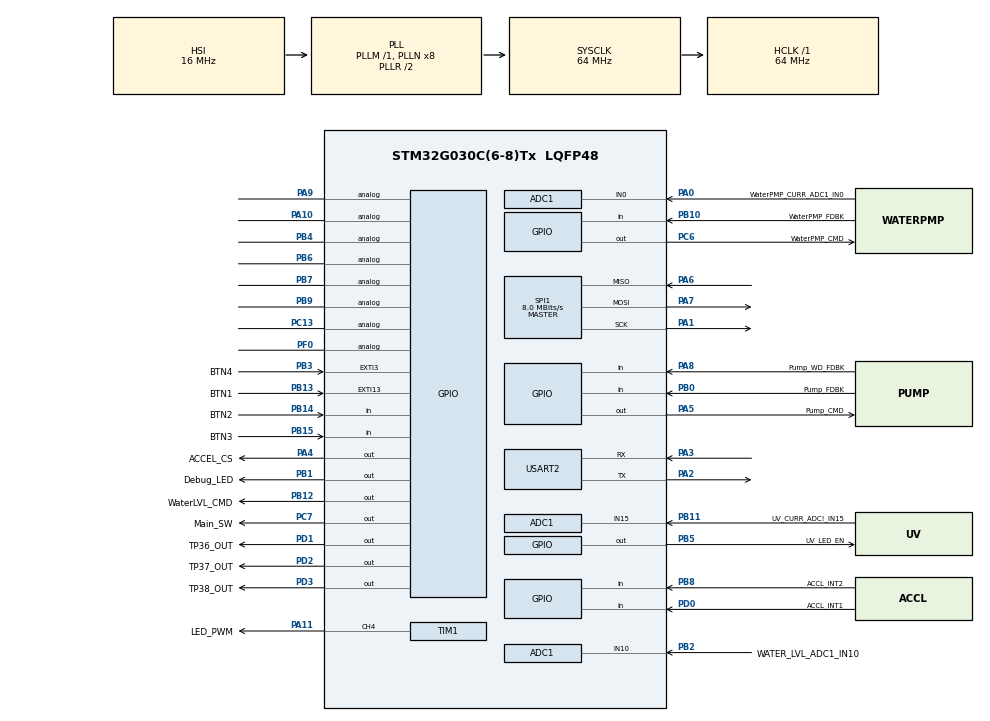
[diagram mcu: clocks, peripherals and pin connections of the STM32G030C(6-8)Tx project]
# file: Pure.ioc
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ADC1.ContinuousConvMode=ENABLE
ADC1.DMAContinuousRequests=ENABLE
ADC1.NbrOfConversion=1
ADC1.NbrOfConversionFlag=0
ADC1.OversamplingMode=ENABLE
ADC1.Ratio=ADC_OVERSAMPLING_RATIO_16
ADC1.RightBitShift=ADC_RIGHTBITSHIFT_4
ADC1.SamplingTimeCommon1=ADC_SAMPLETIME_79CYCLES_5
ADC1.SelectedChannel=ADC_CHANNEL_0|ADC_CHANNEL_10|ADC_CHANNEL_15|ADC_CHANNEL_VBAT
ADC1.Sequencer=NOT_FULLY_CONFIGURABLE
ADC1.master=1
CRC.InputDataFormat=CRC_INPUTDATA_FORMAT_WORDS
CRC.InputDataInversionMode=CRC_INPUTDATA_INVERSION_NONE
CRC.OutputDataInversionMode=CRC_OUTPUTDATA_INVERSION_DISABLE
Dma.ADC1.2.Direction=DMA_PERIPH_TO_MEMORY
Dma.ADC1.2.EventEnable=DISABLE
Dma.ADC1.2.Instance=DMA1_Channel5
Dma.ADC1.2.MemDataAlignment=DMA_MDATAALIGN_HALFWORD
Dma.ADC1.2.MemInc=DMA_MINC_ENABLE
Dma.ADC1.2.Mode=DMA_CIRCULAR
Dma.ADC1.2.PeriphDataAlignment=DMA_PDATAALIGN_HALFWORD
Dma.ADC1.2.PeriphInc=DMA_PINC_DISABLE
Dma.ADC1.2.Polarity=HAL_DMAMUX_REQ_GEN_RISING
Dma.ADC1.2.Priority=DMA_PRIORITY_LOW
Dma.ADC1.2.RequestNumber=1
Dma.ADC1.2.SignalID=NONE
Dma.ADC1.2.SyncEnable=DISABLE
Dma.ADC1.2.SyncPolarity=HAL_DMAMUX_SYNC_NO_EVENT
Dma.ADC1.2.SyncRequestNumber=1
Dma.ADC1.2.SyncSignalID=NONE
Dma.Request0=USART2_RX
Dma.Request1=USART2_TX
Dma.Request2=ADC1
Dma.Request3=TIM1_UP
Dma.TIM1_UP.3.Direction=DMA_MEMORY_TO_PERIPH
Dma.TIM1_UP.3.EventEnable=DISABLE
Dma.TIM1_UP.3.Instance=DMA1_Channel4
Dma.TIM1_UP.3.MemDataAlignment=DMA_MDATAALIGN_HALFWORD
Dma.TIM1_UP.3.MemInc=DMA_MINC_ENABLE
Dma.TIM1_UP.3.Mode=DMA_NORMAL
Dma.TIM1_UP.3.PeriphDataAlignment=DMA_PDATAALIGN_HALFWORD
Dma.TIM1_UP.3.PeriphInc=DMA_PINC_DISABLE
Dma.TIM1_UP.3.Polarity=HAL_DMAMUX_REQ_GEN_RISING
Dma.TIM1_UP.3.Priority=DMA_PRIORITY_HIGH
Dma.TIM1_UP.3.RequestNumber=1
Dma.TIM1_UP.3.SignalID=NONE
Dma.TIM1_UP.3.SyncEnable=DISABLE
Dma.TIM1_UP.3.SyncPolarity=HAL_DMAMUX_SYNC_NO_EVENT
Dma.TIM1_UP.3.SyncRequestNumber=1
Dma.TIM1_UP.3.SyncSignalID=NONE
Dma.USART2_RX.0.Direction=DMA_PERIPH_TO_MEMORY
Dma.USART2_RX.0.EventEnable=DISABLE
Dma.USART2_RX.0.Instance=DMA1_Channel3
Dma.USART2_RX.0.MemDataAlignment=DMA_MDATAALIGN_BYTE
Dma.USART2_RX.0.MemInc=DMA_MINC_ENABLE
Dma.USART2_RX.0.Mode=DMA_CIRCULAR
Dma.USART2_RX.0.PeriphDataAlignment=DMA_PDATAALIGN_BYTE
Dma.USART2_RX.0.PeriphInc=DMA_PINC_DISABLE
Dma.USART2_RX.0.Polarity=HAL_DMAMUX_REQ_GEN_RISING
Dma.USART2_RX.0.Priority=DMA_PRIORITY_LOW
Dma.USART2_RX.0.RequestNumber=1
Dma.USART2_RX.0.SignalID=NONE
Dma.USART2_RX.0.SyncEnable=DISABLE
Dma.USART2_RX.0.SyncPolarity=HAL_DMAMUX_SYNC_NO_EVENT
Dma.USART2_RX.0.SyncRequestNumber=1
Dma.USART2_RX.0.SyncSignalID=NONE
Dma.USART2_TX.1.Direction=DMA_MEMORY_TO_PERIPH
Dma.USART2_TX.1.EventEnable=DISABLE
Dma.USART2_TX.1.Instance=DMA1_Channel1
Dma.USART2_TX.1.MemDataAlignment=DMA_MDATAALIGN_BYTE
Dma.USART2_TX.1.MemInc=DMA_MINC_ENABLE
Dma.USART2_TX.1.Mode=DMA_NORMAL
Dma.USART2_TX.1.PeriphDataAlignment=DMA_PDATAALIGN_BYTE
Dma.USART2_TX.1.PeriphInc=DMA_PINC_DISABLE
Dma.USART2_TX.1.Polarity=HAL_DMAMUX_REQ_GEN_RISING
Dma.USART2_TX.1.Priority=DMA_PRIORITY_LOW
Dma.USART2_TX.1.RequestNumber=1
Dma.USART2_TX.1.SignalID=NONE
Dma.USART2_TX.1.SyncEnable=DISABLE
Dma.USART2_TX.1.SyncPolarity=HAL_DMAMUX_SYNC_NO_EVENT
Dma.USART2_TX.1.SyncRequestNumber=1
Dma.USART2_TX.1.SyncSignalID=NONE
IWDG.Prescaler=IWDG_PRESCALER_16
Mcu.Family=STM32G0
Mcu.Name=STM32G030C(6-8)Tx
Mcu.Package=LQFP48
NVIC.DMA1_Ch4_5_DMAMUX1_OVR_IRQn=true\:0\:0\:false\:false\:true\:false\:true\:true
NVIC.DMA1_Channel1_IRQn=true\:0\:0\:false\:false\:true\:false\:true\:true
NVIC.DMA1_Channel2_3_IRQn=true\:0\:0\:false\:false\:true\:false\:true\:true
NVIC.EXTI2_3_IRQn=true\:0\:0\:false\:false\:true\:true\:true\:true
NVIC.EXTI4_15_IRQn=true\:0\:0\:false\:false\:true\:true\:true\:true
NVIC.TIM14_IRQn=true\:0\:0\:false\:false\:true\:true\:true\:true
NVIC.TIM17_IRQn=true\:0\:0\:false\:false\:true\:true\:true\:true
NVIC.TIM1_BRK_UP_TRG_COM_IRQn=true\:2\:0\:true\:false\:true\:true\:true\:true
NVIC.USART2_IRQn=true\:0\:0\:false\:false\:true\:true\:true\:true
PA0.GPIO_Label=WaterPMP_CURR_ADC1_IN0
PA0.Mode=IN0
PA0.Signal=ADC1_IN0
PA1.Mode=Full_Duplex_Master
PA1.Signal=SPI1_SCK
PA10.Signal=GPIO_Analog
PA11\ [PA9].GPIO_Label=LED_PWM
PA11\ [PA9].GPIO_Speed=GPIO_SPEED_FREQ_VERY_HIGH
PA11\ [PA9].Signal=S_TIM1_CH4
PA2.Mode=Asynchronous
PA2.Signal=USART2_TX
PA3.Mode=Asynchronous
PA3.Signal=USART2_RX
PA4.GPIO_Label=ACCEL_CS
PA4.PinState=GPIO_PIN_SET
PA4.Signal=GPIO_Output
PA5.GPIO_Label=Pump_CMD
PA5.GPIO_PuPd=GPIO_PULLDOWN
PA5.Signal=GPIO_Output
PA6.Mode=Full_Duplex_Master
PA6.Signal=SPI1_MISO
PA7.Mode=Full_Duplex_Master
PA7.Signal=SPI1_MOSI
PA8.GPIO_Label=Pump_WD_FDBK
PA8.Signal=GPIO_Input
PA9.Signal=GPIO_Analog
PB0.GPIO_Label=Pump_FDBK
PB0.Signal=GPIO_Input
PB1.GPIO_Label=Debug_LED
PB1.Signal=GPIO_Output
PB10.GPIO_Label=WaterPMP_FDBK
PB10.Signal=GPIO_Input
PB11.GPIO_Label=UV_CURR_ADC\!_IN15
PB11.Mode=IN15
PB11.Signal=ADC1_IN15
PB12.GPIO_Label=WaterLVL_CMD
PB12.GPIO_PuPd=GPIO_PULLDOWN
PB12.Signal=GPIO_Output
PB13.GPIO_Label=BTN1
PB13.GPIO_ModeDefaultEXTI=GPIO_MODE_IT_RISING_FALLING
PB13.GPIO_PuPd=GPIO_PULLUP
PB13.Signal=GPXTI13
PB14.GPIO_Label=BTN2
PB14.GPIO_PuPd=GPIO_PULLUP
PB14.Signal=GPIO_Input
PB15.GPIO_Label=BTN3
PB15.GPIO_PuPd=GPIO_PULLUP
PB15.Signal=GPIO_Input
PB2.GPIO_Label=WATER_LVL_ADC1_IN10
PB2.Mode=IN10
PB2.Signal=ADC1_IN10
PB3.GPIO_Label=BTN4
PB3.GPIO_ModeDefaultEXTI=GPIO_MODE_IT_FALLING
PB3.GPIO_PuPd=GPIO_PULLUP
PB3.Signal=GPXTI3
PB4.Signal=GPIO_Analog
PB5.GPIO_Label=UV_LED_EN
PB5.Signal=GPIO_Output
PB6.Signal=GPIO_Analog
PB7.Signal=GPIO_Analog
PB8.GPIO_Label=ACCL_INT2
PB8.Signal=GPIO_Input
PB9.Signal=GPIO_Analog
PC13.Signal=GPIO_Analog
PC14-OSC32_IN\ (PC14).Mode=LSE-External-Oscillator
PC14-OSC32_IN\ (PC14).Signal=RCC_OSC32_IN
PC15-OSC32_OUT\ (PC15).Mode=LSE-External-Oscillator
PC15-OSC32_OUT\ (PC15).Signal=RCC_OSC32_OUT
PC6.GPIO_Label=WaterPMP_CMD
PC6.GPIO_PuPd=GPIO_PULLDOWN
PC6.Signal=GPIO_Output
PC7.GPIO_Label=Main_SW
PC7.GPIO_PuPd=GPIO_PULLDOWN
PC7.Signal=GPIO_Output
PD0.GPIO_Label=ACCL_INT1
PD0.Signal=GPIO_Input
PD1.GPIO_Label=TP36_OUT
PD1.Signal=GPIO_Output
PD2.GPIO_Label=TP37_OUT
PD2.Signal=GPIO_Output
PD3.GPIO_Label=TP38_OUT
PD3.Signal=GPIO_Output
PF0-OSC_IN\ (PF0).Signal=GPIO_Analog
ProjectManager.HeapSize=0x300
ProjectManager.StackSize=0x500
ProjectManager.TargetToolchain=STM32CubeIDE
RCC.ADCFreq_Value=64000000
RCC.AHBFreq_Value=64000000
RCC.CortexFreq_Value=64000000
RCC.EXTERNAL_CLOCK_VALUE=12288000
RCC.HCLKFreq_Value=64000000
RCC.HSE_VALUE=8000000
RCC.HSI_VALUE=16000000
RCC.RTCClockSelection=RCC_RTCCLKSOURCE_LSE
RCC.SYSCLKFreq_VALUE=64000000
RCC.SYSCLKSource=RCC_SYSCLKSOURCE_PLLCLK
RCC.VCOOutputFreq_Value=128000000
RTC.SynchPrediv=255
SH.S_TIM1_CH4.0=TIM1_CH4,PWM Generation4 CH4
SPI1.BaudRatePrescaler=SPI_BAUDRATEPRESCALER_8
SPI1.CalculateBaudRate=8.0 MBits/s
SPI1.DataSize=SPI_DATASIZE_8BIT
SPI1.Direction=SPI_DIRECTION_2LINES
SPI1.Mode=SPI_MODE_MASTER
SPI1.NSSPMode=SPI_NSS_PULSE_DISABLE
SPI1.VirtualType=VM_MASTER
TIM1.AutoReloadPreload=TIM_AUTORELOAD_PRELOAD_ENABLE
TIM1.Channel-PWM\ Generation4\ CH4=TIM_CHANNEL_4
TIM1.OC4Preload_PWM=DISABLE
TIM1.Period=79
TIM1.Prescaler=0
TIM14.AutoReloadPreload=TIM_AUTORELOAD_PRELOAD_DISABLE
TIM14.Period=99
TIM14.Prescaler=6399
TIM17.Period=0xffff
TIM17.Prescaler=1
USART2.VirtualMode-Asynchronous=VM_ASYNC
VP_ADC1_Vbat_Input.Mode=IN-Vbat
VP_CRC_VS_CRC.Mode=CRC_Activate
VP_IWDG_VS_IWDG.Mode=IWDG_Activate
VP_RTC_VS_RTC_Activate.Mode=RTC_Enabled
VP_RTC_VS_RTC_Calendar.Mode=RTC_Calendar
VP_TIM14_VS_ClockSourceINT.Mode=Enable_Timer
VP_TIM17_VS_ClockSourceINT.Mode=Enable_Timer
VP_TIM1_VS_ClockSourceINT.Mode=Internal
board=custom

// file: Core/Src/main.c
/* USER CODE BEGIN Header */
/**
  ******************************************************************************
  * @file           : main.c
  * @brief          : Main program body
  ******************************************************************************
  * @attention
  *
  * Copyright (c) 2025 STMicroelectronics.
  * All rights reserved.
  *
  * This software is licensed under terms that can be found in the LICENSE file
  * in the root directory of this software component.
  * If no LICENSE file comes with this software, it is provided AS-IS.
  *
  ******************************************************************************
  */
/* USER CODE END Header */
#include "main.h"

/* USER CODE BEGIN Includes */
//#include "LP5009.h"
#include "RtcBackupMemory.h"
#include "EventQueue.h"
/* USER CODE END Includes */

ADC_HandleTypeDef hadc1;
DMA_HandleTypeDef hdma_adc1;

CRC_HandleTypeDef hcrc;

IWDG_HandleTypeDef hiwdg;

RTC_HandleTypeDef hrtc;

SPI_HandleTypeDef hspi1;

TIM_HandleTypeDef htim1;
TIM_HandleTypeDef htim14;
TIM_HandleTypeDef htim17;
DMA_HandleTypeDef hdma_tim1_up;

UART_HandleTypeDef huart2;
DMA_HandleTypeDef hdma_usart2_rx;
DMA_HandleTypeDef hdma_usart2_tx;

/* USER CODE BEGIN PV */
/// Define global variables to store the latest averaged ADC values.
volatile uint16_t gReadWaterLevelADC;     // Stores the averaged value from ADC_CHANNEL_10 (PB2)
volatile uint16_t gReadWaterPumpCurrentADC;
volatile uint16_t gReadUVCurrentADC;
volatile uint16_t gReadVBATADC;
uint16_t gWaterLevelSensorThreahsold = 372; // 30/10/2025 changed from 500 to Itzik request
bool mWaterLevelAboveThroshold = false;
#define WATER_FULL_EVENT_DEBOUNCE_MSEC (50)
uint32_t mLastWaterFullSensorEventSent = 0;
// ADC buffer definition
// This buffer will store the raw, oversampled (summed) values from both channels, interleaved.
__IO   uint16_t   aADCxConvertedData[ADC_DMA_BUFFER_SIZE];
extern uint16_t gLedsCountTxCountDown;
extern bool gLedsWSBusyTxing;
/* USER CODE END PV */

void SystemClock_Config(void);
static void MX_GPIO_Init(void);
static void MX_DMA_Init(void);
static void MX_TIM1_Init(void);
static void MX_USART2_UART_Init(void);
static void MX_SPI1_Init(void);
static void MX_ADC1_Init(void);
static void MX_RTC_Init(void);
static void MX_TIM14_Init(void);
static void MX_CRC_Init(void);
static void MX_IWDG_Init(void);
static void MX_TIM17_Init(void);
/* USER CODE BEGIN PFP */
void CheckAndSentWaterFullSensorEvent();
/* USER CODE END PFP */

/* USER CODE BEGIN 0 */
//HAL_StatusTypeDef stat = 0;
//int err_count = 0;
//int ok_count = 0;
/* USER CODE END 0 */

int main(void)
{

  /* MCU Configuration--------------------------------------------------------*/

  /* Reset of all peripherals, Initializes the Flash interface and the Systick. */
  HAL_Init();

  /* Configure the system clock */
  SystemClock_Config();

  /* Initialize all configured peripherals */
  MX_GPIO_Init();
  MX_DMA_Init();
  MX_TIM1_Init();
  MX_USART2_UART_Init();
  MX_SPI1_Init();
  MX_ADC1_Init();
  MX_RTC_Init();
  MX_TIM14_Init();
  MX_CRC_Init();
  MX_IWDG_Init();
  MX_TIM17_Init();

  /* Infinite loop */
  /* USER CODE BEGIN WHILE */
  MainLogicInit();
  while (1)
  {
	HAL_Delay(100);
    /* USER CODE END WHILE */

  }
}

void SystemClock_Config(void)
{
  RCC_OscInitTypeDef RCC_OscInitStruct = {0};
  RCC_ClkInitTypeDef RCC_ClkInitStruct = {0};

  /** Configure the main internal regulator output voltage
  */
  HAL_PWREx_ControlVoltageScaling(PWR_REGULATOR_VOLTAGE_SCALE1);

  /** Configure LSE Drive Capability
  */
  HAL_PWR_EnableBkUpAccess();
  __HAL_RCC_LSEDRIVE_CONFIG(RCC_LSEDRIVE_LOW);

  /** Initializes the RCC Oscillators according to the specified parameters
  * in the RCC_OscInitTypeDef structure.
  */
  RCC_OscInitStruct.OscillatorType = RCC_OSCILLATORTYPE_HSI|RCC_OSCILLATORTYPE_LSI
                              |RCC_OSCILLATORTYPE_LSE;
  RCC_OscInitStruct.LSEState = RCC_LSE_ON;
  RCC_OscInitStruct.HSIState = RCC_HSI_ON;
  RCC_OscInitStruct.HSIDiv = RCC_HSI_DIV1;
  RCC_OscInitStruct.HSICalibrationValue = RCC_HSICALIBRATION_DEFAULT;
  RCC_OscInitStruct.LSIState = RCC_LSI_ON;
  RCC_OscInitStruct.PLL.PLLState = RCC_PLL_ON;
  RCC_OscInitStruct.PLL.PLLSource = RCC_PLLSOURCE_HSI;
  RCC_OscInitStruct.PLL.PLLM = RCC_PLLM_DIV1;
  RCC_OscInitStruct.PLL.PLLN = 8;
  RCC_OscInitStruct.PLL.PLLP = RCC_PLLP_DIV2;
  RCC_OscInitStruct.PLL.PLLR = RCC_PLLR_DIV2;
  if (HAL_RCC_OscConfig(&RCC_OscInitStruct) != HAL_OK)
  {
    Error_Handler();
  }

  /** Initializes the CPU, AHB and APB buses clocks
  */
  RCC_ClkInitStruct.ClockType = RCC_CLOCKTYPE_HCLK|RCC_CLOCKTYPE_SYSCLK
                              |RCC_CLOCKTYPE_PCLK1;
  RCC_ClkInitStruct.SYSCLKSource = RCC_SYSCLKSOURCE_PLLCLK;
  RCC_ClkInitStruct.AHBCLKDivider = RCC_SYSCLK_DIV1;
  RCC_ClkInitStruct.APB1CLKDivider = RCC_HCLK_DIV1;

  if (HAL_RCC_ClockConfig(&RCC_ClkInitStruct, FLASH_LATENCY_2) != HAL_OK)
  {
    Error_Handler();
  }
}

static void MX_ADC1_Init(void)
{

  ADC_ChannelConfTypeDef sConfig = {0};

  /** Configure the global features of the ADC (Clock, Resolution, Data Alignment and number of conversion)
  */
  hadc1.Instance = ADC1;
  hadc1.Init.ClockPrescaler = ADC_CLOCK_SYNC_PCLK_DIV2;
  hadc1.Init.Resolution = ADC_RESOLUTION_12B;
  hadc1.Init.DataAlign = ADC_DATAALIGN_RIGHT;
  hadc1.Init.ScanConvMode = ADC_SCAN_SEQ_FIXED;
  hadc1.Init.EOCSelection = ADC_EOC_SINGLE_CONV;
  hadc1.Init.LowPowerAutoWait = DISABLE;
  hadc1.Init.LowPowerAutoPowerOff = DISABLE;
  hadc1.Init.ContinuousConvMode = ENABLE;
  hadc1.Init.NbrOfConversion = 1;
  hadc1.Init.ExternalTrigConv = ADC_SOFTWARE_START;
  hadc1.Init.ExternalTrigConvEdge = ADC_EXTERNALTRIGCONVEDGE_NONE;
  hadc1.Init.DMAContinuousRequests = ENABLE;
  hadc1.Init.Overrun = ADC_OVR_DATA_PRESERVED;
  hadc1.Init.SamplingTimeCommon1 = ADC_SAMPLETIME_79CYCLES_5;
  hadc1.Init.OversamplingMode = ENABLE;
  hadc1.Init.Oversampling.Ratio = ADC_OVERSAMPLING_RATIO_16;
  hadc1.Init.Oversampling.RightBitShift = ADC_RIGHTBITSHIFT_4;
  hadc1.Init.Oversampling.TriggeredMode = ADC_TRIGGEREDMODE_SINGLE_TRIGGER;
  hadc1.Init.TriggerFrequencyMode = ADC_TRIGGER_FREQ_HIGH;
  if (HAL_ADC_Init(&hadc1) != HAL_OK)
  {
    Error_Handler();
  }

  /** Configure Regular Channel
  */
  sConfig.Channel = ADC_CHANNEL_0;
  sConfig.Rank = ADC_RANK_CHANNEL_NUMBER;
  if (HAL_ADC_ConfigChannel(&hadc1, &sConfig) != HAL_OK)
  {
    Error_Handler();
  }

  /** Configure Regular Channel
  */
  sConfig.Channel = ADC_CHANNEL_10;
  if (HAL_ADC_ConfigChannel(&hadc1, &sConfig) != HAL_OK)
  {
    Error_Handler();
  }

  /** Configure Regular Channel
  */
  sConfig.Channel = ADC_CHANNEL_15;
  if (HAL_ADC_ConfigChannel(&hadc1, &sConfig) != HAL_OK)
  {
    Error_Handler();
  }

  /** Configure Regular Channel
  */
  sConfig.Channel = ADC_CHANNEL_VBAT;
  if (HAL_ADC_ConfigChannel(&hadc1, &sConfig) != HAL_OK)
  {
    Error_Handler();
  }
  /* USER CODE BEGIN ADC1_Init 2 */

      // ** Direct Register Write: Enable the internal VREFINT and VBAT paths **
      // This explicitly sets the VREFEN and VBATEN bits in the ADC Common CCR.
      // This is the direct equivalent of the missing __HAL_ADC_COMMON_CONFIG macro.
      ADC->CCR |= ADC_CCR_VBATEN;

  /* USER CODE END ADC1_Init 2 */

}

static void MX_CRC_Init(void)
{

  hcrc.Instance = CRC;
  hcrc.Init.DefaultPolynomialUse = DEFAULT_POLYNOMIAL_ENABLE;
  hcrc.Init.DefaultInitValueUse = DEFAULT_INIT_VALUE_ENABLE;
  hcrc.Init.InputDataInversionMode = CRC_INPUTDATA_INVERSION_NONE;
  hcrc.Init.OutputDataInversionMode = CRC_OUTPUTDATA_INVERSION_DISABLE;
  hcrc.InputDataFormat = CRC_INPUTDATA_FORMAT_WORDS;
  if (HAL_CRC_Init(&hcrc) != HAL_OK)
  {
    Error_Handler();
  }

}

static void MX_IWDG_Init(void)
{

  /* USER CODE BEGIN IWDG_Init 0 */

    // Uncomment these when debug
    //#warning  Debug Mode, MX_IWDG_Init is skipped!
    //return;

#ifdef DEBUG_NO_SAFETY
#warning  DEBUG_NO_SAFETY is defined, MX_IWDG_Init is skipped!
    return;
#endif

  /* USER CODE END IWDG_Init 0 */

  hiwdg.Instance = IWDG;
  hiwdg.Init.Prescaler = IWDG_PRESCALER_16;
  hiwdg.Init.Window = 4095;
  hiwdg.Init.Reload = 4095;
  if (HAL_IWDG_Init(&hiwdg) != HAL_OK)
  {
    Error_Handler();
  }

}

static void MX_RTC_Init(void)
{

  RTC_TimeTypeDef sTime = {0};
  RTC_DateTypeDef sDate = {0};

  /* USER CODE BEGIN RTC_Init 1 */

  // Needed for backup access
  __HAL_RCC_PWR_CLK_ENABLE();
  // Needed for writing BDCR/BKP
  HAL_PWR_EnableBkUpAccess();
  // Enables peripheral access
  __HAL_RCC_RTC_ENABLE();
  /* USER CODE END RTC_Init 1 */

  /** Initialize RTC Only
  */
  hrtc.Instance = RTC;
  hrtc.Init.HourFormat = RTC_HOURFORMAT_24;
  hrtc.Init.AsynchPrediv = 127;
  hrtc.Init.SynchPrediv = 255;
  hrtc.Init.OutPut = RTC_OUTPUT_DISABLE;
  hrtc.Init.OutPutRemap = RTC_OUTPUT_REMAP_NONE;
  hrtc.Init.OutPutPolarity = RTC_OUTPUT_POLARITY_HIGH;
  hrtc.Init.OutPutType = RTC_OUTPUT_TYPE_OPENDRAIN;
  hrtc.Init.OutPutPullUp = RTC_OUTPUT_PULLUP_NONE;
  if (HAL_RTC_Init(&hrtc) != HAL_OK)
  {
    Error_Handler();
  }

  /* USER CODE BEGIN Check_RTC_BKUP */

  // Clear RSF - ST recommendation to ensure a fresh synchronization cycle:
  RTC->ICSR &= ~RTC_ICSR_RSF;  //
  // Wait for register sync (safe 100ms timeout)
  uint32_t timeout = HAL_GetTick() + 100;
  while ((RTC->ICSR & RTC_ICSR_RSF) == 0 && HAL_GetTick() < timeout);
  if (RBMEM_IsRTCMagicNumberOK())
  {
      // RTC already started before - init done
      return;
  }
  // Write the RTC Magic number for next power up
    RBMEM_WriteRTCMagicNunber();

  /* USER CODE END Check_RTC_BKUP */

  /** Initialize RTC and set the Time and Date
  */
  sTime.Hours = 0x0;
  sTime.Minutes = 0x0;
  sTime.Seconds = 0x0;
  sTime.SubSeconds = 0x0;
  sTime.DayLightSaving = RTC_DAYLIGHTSAVING_NONE;
  sTime.StoreOperation = RTC_STOREOPERATION_RESET;
  if (HAL_RTC_SetTime(&hrtc, &sTime, RTC_FORMAT_BCD) != HAL_OK)
  {
    Error_Handler();
  }
  sDate.WeekDay = RTC_WEEKDAY_MONDAY;
  sDate.Month = RTC_MONTH_JANUARY;
  sDate.Date = 0x1;
  sDate.Year = 0x0;

  if (HAL_RTC_SetDate(&hrtc, &sDate, RTC_FORMAT_BCD) != HAL_OK)
  {
    Error_Handler();
  }

}

static void MX_SPI1_Init(void)
{

  /* SPI1 parameter configuration*/
  hspi1.Instance = SPI1;
  hspi1.Init.Mode = SPI_MODE_MASTER;
  hspi1.Init.Direction = SPI_DIRECTION_2LINES;
  hspi1.Init.DataSize = SPI_DATASIZE_8BIT;
  hspi1.Init.CLKPolarity = SPI_POLARITY_LOW;
  hspi1.Init.CLKPhase = SPI_PHASE_1EDGE;
  hspi1.Init.NSS = SPI_NSS_SOFT;
  hspi1.Init.BaudRatePrescaler = SPI_BAUDRATEPRESCALER_8;
  hspi1.Init.FirstBit = SPI_FIRSTBIT_MSB;
  hspi1.Init.TIMode = SPI_TIMODE_DISABLE;
  hspi1.Init.CRCCalculation = SPI_CRCCALCULATION_DISABLE;
  hspi1.Init.CRCPolynomial = 7;
  hspi1.Init.CRCLength = SPI_CRC_LENGTH_DATASIZE;
  hspi1.Init.NSSPMode = SPI_NSS_PULSE_DISABLE;
  if (HAL_SPI_Init(&hspi1) != HAL_OK)
  {
    Error_Handler();
  }

}

static void MX_TIM1_Init(void)
{

  TIM_ClockConfigTypeDef sClockSourceConfig = {0};
  TIM_MasterConfigTypeDef sMasterConfig = {0};
  TIM_OC_InitTypeDef sConfigOC = {0};
  TIM_BreakDeadTimeConfigTypeDef sBreakDeadTimeConfig = {0};

  htim1.Instance = TIM1;
  htim1.Init.Prescaler = 0;
  htim1.Init.CounterMode = TIM_COUNTERMODE_UP;
  htim1.Init.Period = 79;
  htim1.Init.ClockDivision = TIM_CLOCKDIVISION_DIV1;
  htim1.Init.RepetitionCounter = 0;
  htim1.Init.AutoReloadPreload = TIM_AUTORELOAD_PRELOAD_ENABLE;
  if (HAL_TIM_Base_Init(&htim1) != HAL_OK)
  {
    Error_Handler();
  }
  sClockSourceConfig.ClockSource = TIM_CLOCKSOURCE_INTERNAL;
  if (HAL_TIM_ConfigClockSource(&htim1, &sClockSourceConfig) != HAL_OK)
  {
    Error_Handler();
  }
  if (HAL_TIM_PWM_Init(&htim1) != HAL_OK)
  {
    Error_Handler();
  }
  sMasterConfig.MasterOutputTrigger = TIM_TRGO_RESET;
  sMasterConfig.MasterOutputTrigger2 = TIM_TRGO2_RESET;
  sMasterConfig.MasterSlaveMode = TIM_MASTERSLAVEMODE_DISABLE;
  if (HAL_TIMEx_MasterConfigSynchronization(&htim1, &sMasterConfig) != HAL_OK)
  {
    Error_Handler();
  }
  sConfigOC.OCMode = TIM_OCMODE_PWM1;
  sConfigOC.Pulse = 0;
  sConfigOC.OCPolarity = TIM_OCPOLARITY_HIGH;
  sConfigOC.OCFastMode = TIM_OCFAST_DISABLE;
  sConfigOC.OCIdleState = TIM_OCIDLESTATE_RESET;
  sConfigOC.OCNIdleState = TIM_OCNIDLESTATE_RESET;
  if (HAL_TIM_PWM_ConfigChannel(&htim1, &sConfigOC, TIM_CHANNEL_4) != HAL_OK)
  {
    Error_Handler();
  }
  __HAL_TIM_DISABLE_OCxPRELOAD(&htim1, TIM_CHANNEL_4);
  sBreakDeadTimeConfig.OffStateRunMode = TIM_OSSR_DISABLE;
  sBreakDeadTimeConfig.OffStateIDLEMode = TIM_OSSI_DISABLE;
  sBreakDeadTimeConfig.LockLevel = TIM_LOCKLEVEL_OFF;
  sBreakDeadTimeConfig.DeadTime = 0;
  sBreakDeadTimeConfig.BreakState = TIM_BREAK_DISABLE;
  sBreakDeadTimeConfig.BreakPolarity = TIM_BREAKPOLARITY_HIGH;
  sBreakDeadTimeConfig.BreakFilter = 0;
  sBreakDeadTimeConfig.BreakAFMode = TIM_BREAK_AFMODE_INPUT;
  sBreakDeadTimeConfig.Break2State = TIM_BREAK2_DISABLE;
  sBreakDeadTimeConfig.Break2Polarity = TIM_BREAK2POLARITY_HIGH;
  sBreakDeadTimeConfig.Break2Filter = 0;
  sBreakDeadTimeConfig.Break2AFMode = TIM_BREAK_AFMODE_INPUT;
  sBreakDeadTimeConfig.AutomaticOutput = TIM_AUTOMATICOUTPUT_DISABLE;
  if (HAL_TIMEx_ConfigBreakDeadTime(&htim1, &sBreakDeadTimeConfig) != HAL_OK)
  {
    Error_Handler();
  }
  HAL_TIM_MspPostInit(&htim1);

}

static void MX_TIM14_Init(void)
{

  htim14.Instance = TIM14;
  htim14.Init.Prescaler = 6399;
  htim14.Init.CounterMode = TIM_COUNTERMODE_UP;
  htim14.Init.Period = 99;
  htim14.Init.ClockDivision = TIM_CLOCKDIVISION_DIV1;
  htim14.Init.AutoReloadPreload = TIM_AUTORELOAD_PRELOAD_DISABLE;
  if (HAL_TIM_Base_Init(&htim14) != HAL_OK)
  {
    Error_Handler();
  }

}

static void MX_TIM17_Init(void)
{

  htim17.Instance = TIM17;
  htim17.Init.Prescaler = 1;
  htim17.Init.CounterMode = TIM_COUNTERMODE_UP;
  htim17.Init.Period = 0xffff;
  htim17.Init.ClockDivision = TIM_CLOCKDIVISION_DIV1;
  htim17.Init.RepetitionCounter = 0;
  htim17.Init.AutoReloadPreload = TIM_AUTORELOAD_PRELOAD_DISABLE;
  if (HAL_TIM_Base_Init(&htim17) != HAL_OK)
  {
    Error_Handler();
  }
  /* USER CODE BEGIN TIM17_Init 2 */
  HAL_TIM_Base_Start_IT(&htim17);
  /* USER CODE END TIM17_Init 2 */

}

static void MX_USART2_UART_Init(void)
{

  huart2.Instance = USART2;
  huart2.Init.BaudRate = 115200;
  huart2.Init.WordLength = UART_WORDLENGTH_8B;
  huart2.Init.StopBits = UART_STOPBITS_1;
  huart2.Init.Parity = UART_PARITY_NONE;
  huart2.Init.Mode = UART_MODE_TX_RX;
  huart2.Init.HwFlowCtl = UART_HWCONTROL_NONE;
  huart2.Init.OverSampling = UART_OVERSAMPLING_16;
  huart2.Init.OneBitSampling = UART_ONE_BIT_SAMPLE_DISABLE;
  huart2.Init.ClockPrescaler = UART_PRESCALER_DIV1;
  huart2.AdvancedInit.AdvFeatureInit = UART_ADVFEATURE_NO_INIT;
  if (HAL_UART_Init(&huart2) != HAL_OK)
  {
    Error_Handler();
  }

}

static void MX_DMA_Init(void)
{

  /* DMA controller clock enable */
  __HAL_RCC_DMA1_CLK_ENABLE();

  /* DMA interrupt init */
  /* DMA1_Channel1_IRQn interrupt configuration */
  HAL_NVIC_SetPriority(DMA1_Channel1_IRQn, 0, 0);
  HAL_NVIC_EnableIRQ(DMA1_Channel1_IRQn);
  /* DMA1_Channel2_3_IRQn interrupt configuration */
  HAL_NVIC_SetPriority(DMA1_Channel2_3_IRQn, 0, 0);
  HAL_NVIC_EnableIRQ(DMA1_Channel2_3_IRQn);
  /* DMA1_Ch4_5_DMAMUX1_OVR_IRQn interrupt configuration */
  HAL_NVIC_SetPriority(DMA1_Ch4_5_DMAMUX1_OVR_IRQn, 0, 0);
  HAL_NVIC_EnableIRQ(DMA1_Ch4_5_DMAMUX1_OVR_IRQn);

}

static void MX_GPIO_Init(void)
{
  GPIO_InitTypeDef GPIO_InitStruct = {0};

  /* GPIO Ports Clock Enable */
  __HAL_RCC_GPIOC_CLK_ENABLE();
  __HAL_RCC_GPIOF_CLK_ENABLE();
  __HAL_RCC_GPIOA_CLK_ENABLE();
  __HAL_RCC_GPIOB_CLK_ENABLE();
  __HAL_RCC_GPIOD_CLK_ENABLE();

  /*Configure GPIO pin Output Level */
  HAL_GPIO_WritePin(ACCEL_CS_GPIO_Port, ACCEL_CS_Pin, GPIO_PIN_SET);

  /*Configure GPIO pin Output Level */
  HAL_GPIO_WritePin(Pump_CMD_GPIO_Port, Pump_CMD_Pin, GPIO_PIN_RESET);

  /*Configure GPIO pin Output Level */
  HAL_GPIO_WritePin(GPIOB, Debug_LED_Pin|WaterLVL_CMD_Pin|UV_LED_EN_Pin, GPIO_PIN_RESET);

  /*Configure GPIO pin Output Level */
  HAL_GPIO_WritePin(GPIOC, WaterPMP_CMD_Pin|Main_SW_Pin, GPIO_PIN_RESET);

  /*Configure GPIO pin Output Level */
  HAL_GPIO_WritePin(GPIOD, TP36_OUT_Pin|TP37_OUT_Pin|TP38_OUT_Pin, GPIO_PIN_RESET);

  /*Configure GPIO pin : PC13 */
  GPIO_InitStruct.Pin = GPIO_PIN_13;
  GPIO_InitStruct.Mode = GPIO_MODE_ANALOG;
  GPIO_InitStruct.Pull = GPIO_NOPULL;
  HAL_GPIO_Init(GPIOC, &GPIO_InitStruct);

  /*Configure GPIO pin : PF0 */
  GPIO_InitStruct.Pin = GPIO_PIN_0;
  GPIO_InitStruct.Mode = GPIO_MODE_ANALOG;
  GPIO_InitStruct.Pull = GPIO_NOPULL;
  HAL_GPIO_Init(GPIOF, &GPIO_InitStruct);

  /*Configure GPIO pin : ACCEL_CS_Pin */
  GPIO_InitStruct.Pin = ACCEL_CS_Pin;
  GPIO_InitStruct.Mode = GPIO_MODE_OUTPUT_PP;
  GPIO_InitStruct.Pull = GPIO_NOPULL;
  GPIO_InitStruct.Speed = GPIO_SPEED_FREQ_LOW;
  HAL_GPIO_Init(ACCEL_CS_GPIO_Port, &GPIO_InitStruct);

  /*Configure GPIO pin : Pump_CMD_Pin */
  GPIO_InitStruct.Pin = Pump_CMD_Pin;
  GPIO_InitStruct.Mode = GPIO_MODE_OUTPUT_PP;
  GPIO_InitStruct.Pull = GPIO_PULLDOWN;
  GPIO_InitStruct.Speed = GPIO_SPEED_FREQ_LOW;
  HAL_GPIO_Init(Pump_CMD_GPIO_Port, &GPIO_InitStruct);

  /*Configure GPIO pins : Pump_FDBK_Pin WaterPMP_FDBK_Pin ACCL_INT2_Pin */
  GPIO_InitStruct.Pin = Pump_FDBK_Pin|WaterPMP_FDBK_Pin|ACCL_INT2_Pin;
  GPIO_InitStruct.Mode = GPIO_MODE_INPUT;
  GPIO_InitStruct.Pull = GPIO_NOPULL;
  HAL_GPIO_Init(GPIOB, &GPIO_InitStruct);

  /*Configure GPIO pins : Debug_LED_Pin UV_LED_EN_Pin */
  GPIO_InitStruct.Pin = Debug_LED_Pin|UV_LED_EN_Pin;
  GPIO_InitStruct.Mode = GPIO_MODE_OUTPUT_PP;
  GPIO_InitStruct.Pull = GPIO_NOPULL;
  GPIO_InitStruct.Speed = GPIO_SPEED_FREQ_LOW;
  HAL_GPIO_Init(GPIOB, &GPIO_InitStruct);

  /*Configure GPIO pin : WaterLVL_CMD_Pin */
  GPIO_InitStruct.Pin = WaterLVL_CMD_Pin;
  GPIO_InitStruct.Mode = GPIO_MODE_OUTPUT_PP;
  GPIO_InitStruct.Pull = GPIO_PULLDOWN;
  GPIO_InitStruct.Speed = GPIO_SPEED_FREQ_LOW;
  HAL_GPIO_Init(WaterLVL_CMD_GPIO_Port, &GPIO_InitStruct);

  /*Configure GPIO pin : BTN1_Pin */
  GPIO_InitStruct.Pin = BTN1_Pin;
  GPIO_InitStruct.Mode = GPIO_MODE_IT_RISING_FALLING;
  GPIO_InitStruct.Pull = GPIO_PULLUP;
  HAL_GPIO_Init(BTN1_GPIO_Port, &GPIO_InitStruct);

  /*Configure GPIO pins : BTN2_Pin BTN3_Pin */
  GPIO_InitStruct.Pin = BTN2_Pin|BTN3_Pin;
  GPIO_InitStruct.Mode = GPIO_MODE_INPUT;
  GPIO_InitStruct.Pull = GPIO_PULLUP;
  HAL_GPIO_Init(GPIOB, &GPIO_InitStruct);

  /*Configure GPIO pin : Pump_WD_FDBK_Pin */
  GPIO_InitStruct.Pin = Pump_WD_FDBK_Pin;
  GPIO_InitStruct.Mode = GPIO_MODE_INPUT;
  GPIO_InitStruct.Pull = GPIO_NOPULL;
  HAL_GPIO_Init(Pump_WD_FDBK_GPIO_Port, &GPIO_InitStruct);

  /*Configure GPIO pins : PA9 PA10 */
  GPIO_InitStruct.Pin = GPIO_PIN_9|GPIO_PIN_10;
  GPIO_InitStruct.Mode = GPIO_MODE_ANALOG;
  GPIO_InitStruct.Pull = GPIO_NOPULL;
  HAL_GPIO_Init(GPIOA, &GPIO_InitStruct);

  /*Configure GPIO pins : WaterPMP_CMD_Pin Main_SW_Pin */
  GPIO_InitStruct.Pin = WaterPMP_CMD_Pin|Main_SW_Pin;
  GPIO_InitStruct.Mode = GPIO_MODE_OUTPUT_PP;
  GPIO_InitStruct.Pull = GPIO_PULLDOWN;
  GPIO_InitStruct.Speed = GPIO_SPEED_FREQ_LOW;
  HAL_GPIO_Init(GPIOC, &GPIO_InitStruct);

  /*Configure GPIO pin : ACCL_INT1_Pin */
  GPIO_InitStruct.Pin = ACCL_INT1_Pin;
  GPIO_InitStruct.Mode = GPIO_MODE_INPUT;
  GPIO_InitStruct.Pull = GPIO_NOPULL;
  HAL_GPIO_Init(ACCL_INT1_GPIO_Port, &GPIO_InitStruct);

  /*Configure GPIO pins : TP36_OUT_Pin TP37_OUT_Pin TP38_OUT_Pin */
  GPIO_InitStruct.Pin = TP36_OUT_Pin|TP37_OUT_Pin|TP38_OUT_Pin;
  GPIO_InitStruct.Mode = GPIO_MODE_OUTPUT_PP;
  GPIO_InitStruct.Pull = GPIO_NOPULL;
  GPIO_InitStruct.Speed = GPIO_SPEED_FREQ_LOW;
  HAL_GPIO_Init(GPIOD, &GPIO_InitStruct);

  /*Configure GPIO pin : BTN4_Pin */
  GPIO_InitStruct.Pin = BTN4_Pin;
  GPIO_InitStruct.Mode = GPIO_MODE_IT_FALLING;
  GPIO_InitStruct.Pull = GPIO_PULLUP;
  HAL_GPIO_Init(BTN4_GPIO_Port, &GPIO_InitStruct);

  /*Configure GPIO pins : PB4 PB6 PB7 PB9 */
  GPIO_InitStruct.Pin = GPIO_PIN_4|GPIO_PIN_6|GPIO_PIN_7|GPIO_PIN_9;
  GPIO_InitStruct.Mode = GPIO_MODE_ANALOG;
  GPIO_InitStruct.Pull = GPIO_NOPULL;
  HAL_GPIO_Init(GPIOB, &GPIO_InitStruct);

  /* EXTI interrupt init*/
  HAL_NVIC_SetPriority(EXTI2_3_IRQn, 0, 0);
  HAL_NVIC_EnableIRQ(EXTI2_3_IRQn);

  HAL_NVIC_SetPriority(EXTI4_15_IRQn, 0, 0);
  HAL_NVIC_EnableIRQ(EXTI4_15_IRQn);

}

/* USER CODE BEGIN 4 */
/**
 * @brief  Period elapsed callback in non blocking mode
 * @note   This function is called when TIMx interrupt took place, inside
 * HAL_TIM_IRQHandler().
 * @param  htim : TIM handle
 * @retval None
 */
void HAL_TIM_PeriodElapsedCallback(TIM_HandleTypeDef *htim)
{
	if (htim->Instance == TIM14) {
		MainLogicPeriodic();
	} else if (htim->Instance == TIM1) {
        // WS2811 guard: stop exactly after the intended number of 1.25us periods
        if (gLedsWSBusyTxing && gLedsCountTxCountDown) {
            if (--gLedsCountTxCountDown == 0) {
                __HAL_TIM_DISABLE_DMA(&htim1, TIM_DMA_UPDATE);
                __HAL_TIM_DISABLE_IT(&htim1, TIM_IT_UPDATE);
                HAL_TIM_PWM_Stop(&htim1, TIM_CHANNEL_4);
                gLedsWSBusyTxing = false;
            }
        }
    }
}

// Start ADC conversion with DMA.
HAL_StatusTypeDef StartADCConversion() {
    // The DMA will fill aADCxConvertedData with ADC values continuously.
    return HAL_ADC_Start_DMA(&hadc1, (uint32_t*) aADCxConvertedData, ADC_DMA_BUFFER_SIZE);
}

// Stop ADC conversion with DMA.
// Renamed for clarity.
HAL_StatusTypeDef StopADCConversion() {
    return HAL_ADC_Stop_DMA(&hadc1);
}
/**
  * @brief  Conversion complete callback in non-blocking mode
  * @param  hadc ADC handle
  * @retval None
  */
void HAL_ADC_ConvCpltCallback(ADC_HandleTypeDef *hadc)
{
//    // This callback is triggered when the SECOND HALF of the DMA buffer has been filled.
//    // In circular DMA mode, this means indices 8 to 15 have just been written,
//    // and DMA is wrapping around to fill the first half again.
//    // Each value is a CH10 sample already averaged by hardware oversampling.
//
//    // Since hadc1.Init.Oversampling.RightBitShift = ADC_RIGHTBITSHIFT_4,
//    // each value in the buffer represents the average of 16 raw samples.
//    //
//    // The last element in this half (index 15) contains the most recent CH10 sample.
//	gReadWaterLevelADC = aADCxConvertedData[ADC_DMA_BUFFER_SIZE - 1]; // Latest sample (index 15)

    // Index 14 = latest CH0 sample (even)
    // Index 15 = latest CH10 sample (odd)

    // Ver 4.93: Added VBAT and increased buffer size to 32, updated indices accordingly

    gReadWaterPumpCurrentADC = aADCxConvertedData[28];   // IN0
    gReadWaterLevelADC       = aADCxConvertedData[29];   // IN10
    gReadVBATADC             = aADCxConvertedData[30];   // VBAT
    gReadUVCurrentADC        = aADCxConvertedData[31];   // IN15

    CheckAndSentWaterFullSensorEvent();
}

/**
  * @brief  Conversion half complete callback in non-blocking mode
  * @param  hadc ADC handle
  * @retval None
  */
void HAL_ADC_ConvHalfCpltCallback(ADC_HandleTypeDef *hadc)
{
//    // This callback is triggered when the FIRST HALF of the DMA buffer has been filled.
//    // In circular DMA mode, this means the first half (indices 0 to 7) just finished,
//    // and DMA is now filling the second half (indices 8 to 15).
//    // Each element corresponds to one CH10 sample after hardware oversampling.
//
//    // Because hadc1.Init.Oversampling.RightBitShift = ADC_RIGHTBITSHIFT_4 (== divide by 16),
//    // the hardware already averages 16 raw samples per reported value.
//    // So each entry in aADCxConvertedData[] is the already-averaged 12-bit result.
//    //
//    // The last element in this half (index 7) contains the most recent CH10 sample.
//	gReadWaterLevelADC = aADCxConvertedData[(ADC_DMA_BUFFER_SIZE / 2) - 1]; // Latest sample (index 7)

    // Index 6 = latest CH0 sample (even)
    // Index 7 = latest CH10 sample (odd)

    // Ver 4.93: Added VBAT and increased buffer size to 32, updated indices accordingly

    gReadWaterPumpCurrentADC = aADCxConvertedData[12];   // IN0
    gReadWaterLevelADC       = aADCxConvertedData[13];   // IN10
    gReadVBATADC             = aADCxConvertedData[14];   // VBAT
    gReadUVCurrentADC        = aADCxConvertedData[15];   // IN15

    CheckAndSentWaterFullSensorEvent();
}

void CheckAndSentWaterFullSensorEvent()
{
    if (gReadWaterLevelADC >= gWaterLevelSensorThreahsold)
	{
		if (!mWaterLevelAboveThroshold)
		{
			// once moving above threshold, set bottle full event
			mWaterLevelAboveThroshold = true;
			if (mLastWaterFullSensorEventSent + WATER_FULL_EVENT_DEBOUNCE_MSEC < HAL_GetTick())
			{
				mLastWaterFullSensorEventSent = HAL_GetTick();
				SMEventQueue_Add(SMSodaStreamPure_EventId_EVENT_BOTTLEFULLSENSOR);
			}
		}
	}
	else
	{
		mWaterLevelAboveThroshold = false;
	}
}

/* USER CODE END 4 */

void Error_Handler(void)
{
  __disable_irq();
  while (1)
  {
  }
}
